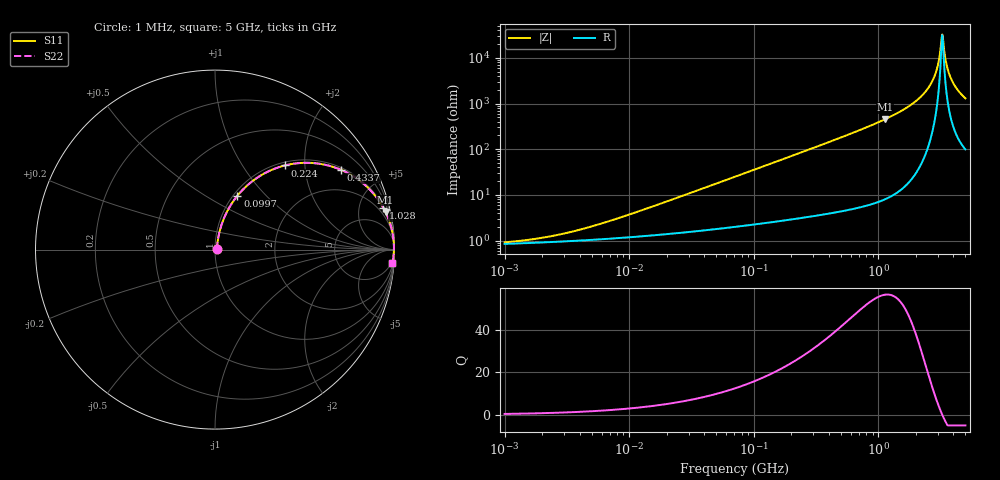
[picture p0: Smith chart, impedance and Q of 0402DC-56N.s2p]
# MHz  S  MA  R  50
!Freq  MagS11  AngS11  MagS21  AngS21  MagS12  AngS12  MagS22  AngS22
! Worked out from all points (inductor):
!   801 points, 1 MHz to 5 GHz, reference 50 ohm
!   read as one part in series: L = 56 nH near 10.09 MHz
!   highest Q = 56.6 at 1.131 GHz (marker M1), where L = 63.7 nH
!   self-resonance near 3.248 GHz
!   S11 on the Smith chart (normalised r, x): 1 MHz: 1.02, +0.01; 99.7 MHz: 1.04, +0.70; 224 MHz: 1.06, +1.58; 433.7 MHz: 1.08, +3.11; 1.028 GHz: 1.14, +8.03; 5 GHz: 3, -26
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1  0.009077 22.4  0.9916 -0.2  0.9916 -0.2  0.009077 22.4
4.168304  0.01761 54.7  0.9899 -0.8  0.9899 -0.8  0.01761 54.7
17.19065  0.06102 74.2  0.9851 -3.4  0.9851 -3.4  0.06102 74.2
70.89654  0.2384 71.7  0.9523 -13.7  0.9523 -13.7  0.2384 71.7
99.69539  0.3255 67.4  0.9251 -19.0  0.9251 -19.0  0.3255 67.4
224.0236  0.6099 50.3  0.7695 -37.5  0.7695 -37.5  0.6099 50.3
295.5183  0.7124 42.7  0.6791 -45.4  0.6791 -45.4  0.7124 42.7
433.6514  0.8311 32.3  0.5349 -56.2  0.5349 -56.2  0.8311 32.3
1027.761  0.9663 13.9  0.2406 -75.1  0.2406 -75.1  0.9663 13.9
1131.179  0.9728 12.4  0.215 -76.6  0.215 -76.6  0.9728 12.4
1218.757  0.9771 11.3  0.196 -77.7  0.196 -77.7  0.9771 11.3
1866.293  0.9925 5.8  0.1016 -82.8  0.1016 -82.8  0.9925 5.8
2461.9  0.9964 2.8  0.04953 -84.4  0.04953 -84.4  0.9964 2.8
2888.477  0.9972 1.2  0.02133 -81.7  0.02133 -81.7  0.9972 1.2
3014.221  0.9972 0.8  0.014 -77.9  0.014 -77.9  0.9972 0.8
3179.127  0.9971 0.3  0.005321 -56.7  0.005321 -56.7  0.9971 0.3
3247.589  0.997 0.0  0.003068 -14.4  0.003068 -14.4  0.997 0.0
3353.055  0.9969 -0.3  0.005697 56.9  0.005697 56.9  0.9969 -0.3
3574.375  0.9965 -0.9  0.01625 77.1  0.01625 77.1  0.9965 -0.9
3851.111  0.9958 -1.7  0.02916 80.9  0.02916 80.9  0.9958 -1.7
4329.904  0.9942 -2.8  0.04987 81.9  0.04987 81.9  0.9942 -2.8
5000  0.9913 -4.4  0.07613 81.3  0.07613 81.3  0.9913 -4.4
